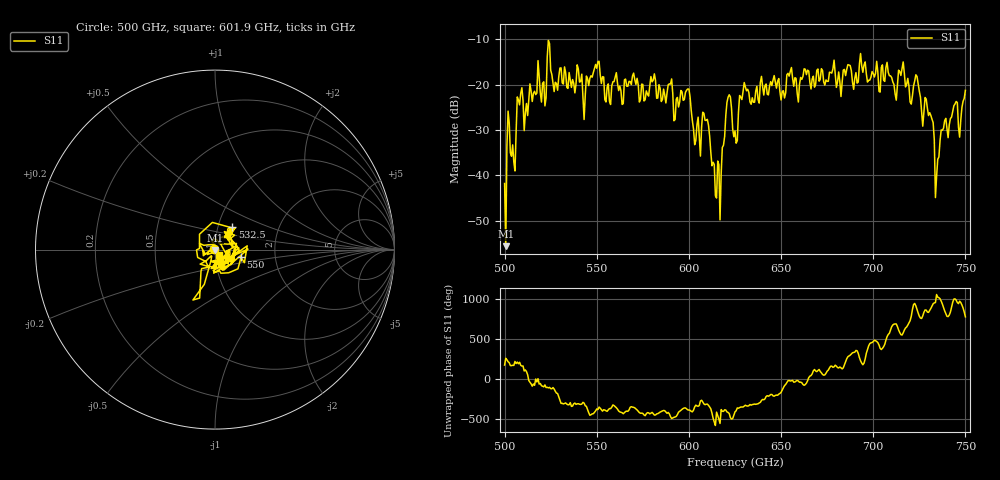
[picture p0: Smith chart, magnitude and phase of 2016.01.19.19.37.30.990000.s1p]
!Created with skrf (http://scikit-rf.org).
# GHz S RI R 50.0
!freq ReS11 ImS11
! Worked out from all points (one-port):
!   401 points, 500 GHz to 750 GHz, reference 50 ohm
!   lowest |S11| = -55.6 dB at 500.6 GHz (marker M1), VSWR 1.00, Z = 50 - j0.16 ohm
!   |S11| at or under -10 dB: start of sweep to end of sweep
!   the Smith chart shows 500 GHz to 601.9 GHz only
!   S11 on the Smith chart (normalised r, x): 500 GHz: 0.98, +0.00; 532.5 GHz: 1.17, +0.30; 550 GHz: 1.33, -0.12; 601.9 GHz: 1.05, -0.07
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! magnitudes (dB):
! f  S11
! 500 GHz  -41.8
! 500.6 GHz  -55.6
! 502.5 GHz  -28.4
! 505 GHz  -37.1
! 508.1 GHz  -24.5
! 521.2 GHz  -19.4
! 524.4 GHz  -11.0
! 527.5 GHz  -19.5
! 531.2 GHz  -19.6
! 532.5 GHz  -16.1
! 543.8 GHz  -22.4
! 550 GHz  -16.4
! 562.5 GHz  -20.3
! 593.8 GHz  -22.8
! 599.4 GHz  -21.0
! 601.9 GHz  -28.0
! 609.4 GHz  -27.9
! 615.6 GHz  -36.8
! 621.2 GHz  -22.8
! 625 GHz  -30.2
! 630.6 GHz  -20.5
! 656.2 GHz  -18.6
! 687.5 GHz  -15.8
! 718.8 GHz  -18.6
! 729.4 GHz  -25.2
! 735 GHz  -36.4
! 738.1 GHz  -29.6
! 750 GHz  -21.3
